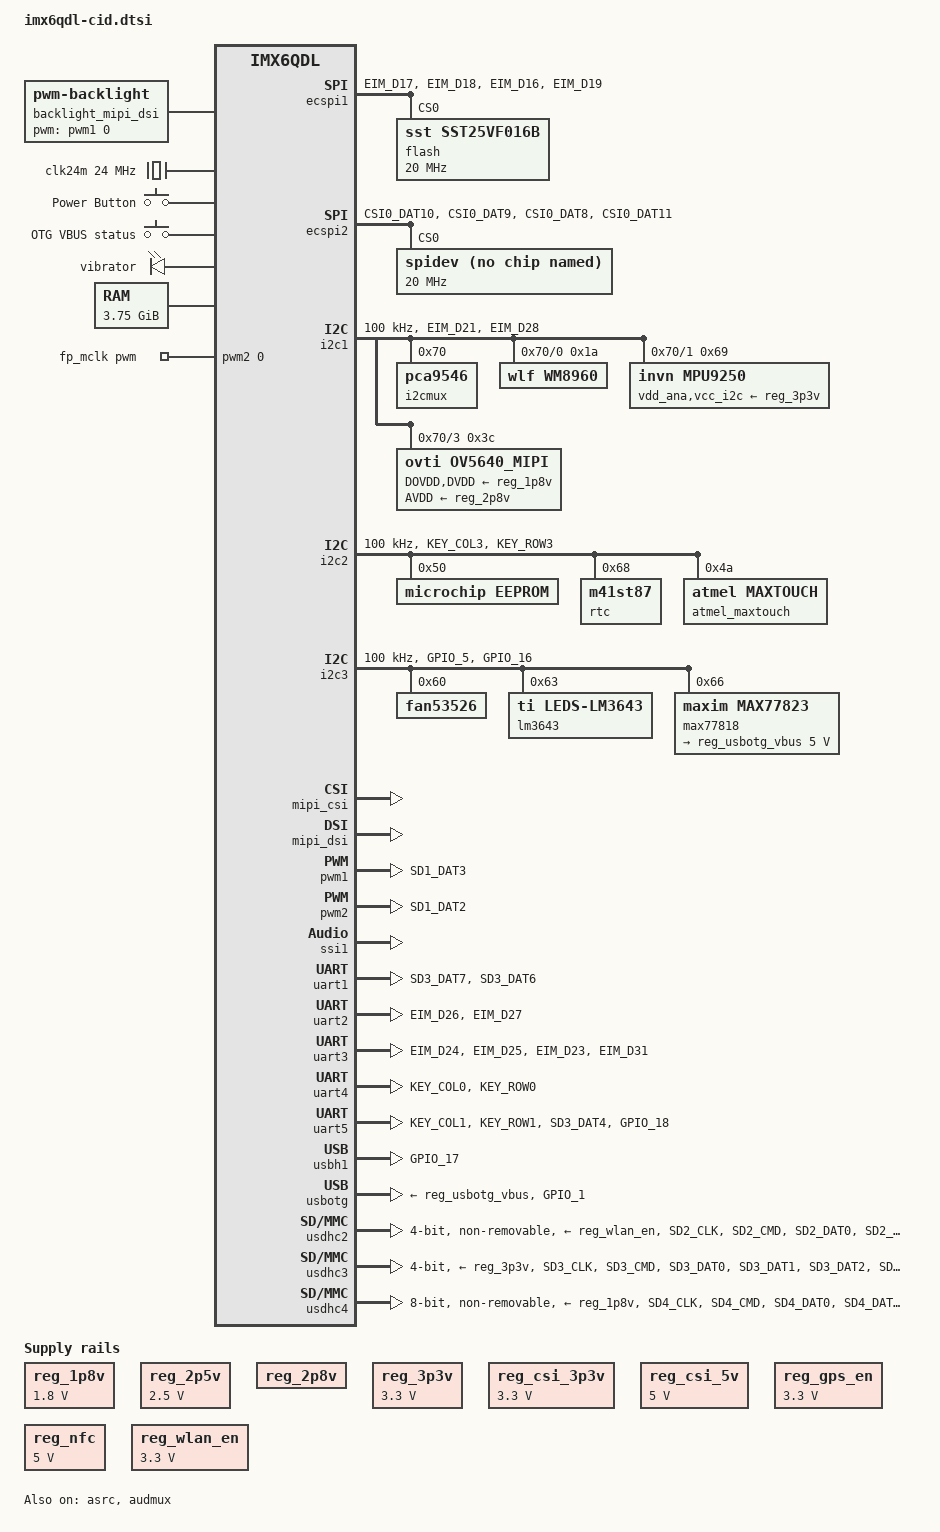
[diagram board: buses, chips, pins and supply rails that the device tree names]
/*
 * Copyright 2017 Boundary Devices, Inc.
 *
 * The code contained herein is licensed under the GNU General Public
 * License. You may obtain a copy of the GNU General Public License
 * Version 2 or later at the following locations:
 *
 * http://www.opensource.org/licenses/gpl-license.html
 * http://www.gnu.org/copyleft/gpl.html
 */
#include <dt-bindings/gpio/gpio.h>
#include <dt-bindings/input/input.h>

&iomuxc {
	pinctrl-names = "default";
	pinctrl-0 = <&pinctrl_hog>;

	iomuxc_imx6q_cid: iomuxc-imx6q-cidgrp {
		status = "okay";
	};
};

&iomuxc_imx6q_cid {
	pinctrl_audmux3: audmuxgrp {
		fsl,pins = <
			MX6QDL_PAD_CSI0_DAT4__AUD3_TXC		0x130b0
			MX6QDL_PAD_CSI0_DAT5__AUD3_TXD		0x110b0
			MX6QDL_PAD_CSI0_DAT6__AUD3_TXFS		0x130b0
			MX6QDL_PAD_CSI0_DAT7__AUD3_RXD		0x130b0
		>;
	};

	pinctrl_audmux4: audmuxgrp {
		fsl,pins = <
			MX6QDL_PAD_DISP0_DAT20__AUD4_TXC	0x130b0
			MX6QDL_PAD_DISP0_DAT21__AUD4_TXD	0x110b0
			MX6QDL_PAD_DISP0_DAT22__AUD4_TXFS	0x130b0
			MX6QDL_PAD_DISP0_DAT23__AUD4_RXD	0x130b0
		>;
	};

	pinctrl_backlight_mipi: backlight-mipigrp {
		fsl,pins = <
#define GP_BACKLIGHT_MIPI_EN	<&gpio1 2 GPIO_ACTIVE_HIGH>
			MX6QDL_PAD_GPIO_2__GPIO1_IO02		0x030b0
		>;
	};

	pinctrl_bt_rfkill: bt-rfkillgrp {
		fsl,pins = <
#define GP_BT_RFKILL_RESET	<&gpio6 16 GPIO_ACTIVE_LOW>
			MX6QDL_PAD_NANDF_CS3__GPIO6_IO16	0x030b0
		>;
	};

	pinctrl_ecspi1: ecspi1grp {
		fsl,pins = <
			MX6QDL_PAD_EIM_D17__ECSPI1_MISO		0x100b1
			MX6QDL_PAD_EIM_D18__ECSPI1_MOSI		0x100b1
			MX6QDL_PAD_EIM_D16__ECSPI1_SCLK		0x000b1
#define GP_ECSPI1_NOR_CS	<&gpio3 19 GPIO_ACTIVE_LOW>
			MX6QDL_PAD_EIM_D19__GPIO3_IO19		0x0b0b1
		>;
	};

	pinctrl_ecspi2: ecspi2grp {
		fsl,pins = <
			MX6QDL_PAD_CSI0_DAT10__ECSPI2_MISO	0x100b1
			MX6QDL_PAD_CSI0_DAT9__ECSPI2_MOSI	0x100b1
			MX6QDL_PAD_CSI0_DAT8__ECSPI2_SCLK	0x000b1
#define GP_ECSPI2_CS		<&gpio5 29 GPIO_ACTIVE_LOW>
			MX6QDL_PAD_CSI0_DAT11__GPIO5_IO29	0x0b0b1
		>;
	};

	pinctrl_gpio_keys: gpio-keysgrp {
		fsl,pins = <
#define GP_GPIOKEY_POWER	<&gpio3 1 GPIO_ACTIVE_LOW>
			MX6QDL_PAD_EIM_DA1__GPIO3_IO01		0x1b0b0
			/* Goes low when USB_OTG_VBUS goes high */
#define GP_GPIOKEY_OTG_VBUS_STATUS	<&gpio3 3 GPIO_ACTIVE_LOW>
			MX6QDL_PAD_EIM_DA3__GPIO3_IO03		0x1b0b0
		>;
	};

	pinctrl_hog: hoggrp {
		fsl,pins = <
			/* Blue Led */
#define GP_STAT_LED1		<&gpio4 26 GPIO_ACTIVE_LOW>
			MX6QDL_PAD_DISP0_DAT5__GPIO4_IO26	0x1b0b0
			/* Green Led */
#define GP_STAT_LED2		<&gpio4 25 GPIO_ACTIVE_LOW>
			MX6QDL_PAD_DISP0_DAT4__GPIO4_IO25	0x1b0b0
			/* Red Led */
#define GP_STAT_LED3		<&gpio4 27 GPIO_ACTIVE_LOW>
			MX6QDL_PAD_DISP0_DAT6__GPIO4_IO27	0x1b0b0

			/* Regulators */
#define GP_3P7_BYPASS_EN	<&gpio2 18 GPIO_ACTIVE_HIGH>
			MX6QDL_PAD_EIM_A20__GPIO2_IO18		0x1b0b0
#define GP_3P7_EN		<&gpio5 11 GPIO_ACTIVE_HIGH>
			MX6QDL_PAD_DISP0_DAT17__GPIO5_IO11	0x1b0b0
			/* TODO Wireless control pins */
			MX6QDL_PAD_NANDF_ALE__GPIO6_IO08	0x1b0b0
			MX6QDL_PAD_NANDF_CLE__GPIO6_IO07	0x1b0b0
			MX6QDL_PAD_NANDF_D3__GPIO2_IO03		0x1b0b0
			/* main power on/ use pmic_on_req instead */
			MX6QDL_PAD_GPIO_8__GPIO1_IO08		0x1b0b0
			/* TP68 */
			MX6QDL_PAD_NANDF_D0__GPIO2_IO00		0x1b0b0
			/* TP71 */
			MX6QDL_PAD_ENET_TXD0__GPIO1_IO30	0x1b0b0
			/* TP72 */
			MX6QDL_PAD_ENET_RXD0__GPIO1_IO27	0x1b0b0
			/* TP74 */
			MX6QDL_PAD_NANDF_D7__GPIO2_IO07		0x1b0b0
			/* TP84 */
			MX6QDL_PAD_KEY_ROW2__GPIO4_IO11		0x1b0b0
			/* TP85 */
			MX6QDL_PAD_GPIO_9__GPIO1_IO09		0x1b0b0
			/* TP86 */
			MX6QDL_PAD_DISP0_DAT10__GPIO4_IO31	0x1b0b0
			/* TP87 */
			MX6QDL_PAD_DISP0_DAT19__GPIO5_IO13	0x1b0b0
			/* TP91 */
			MX6QDL_PAD_SD1_DAT0__GPIO1_IO16		0x1b0b0
			/* TP92 */
			MX6QDL_PAD_SD1_DAT1__GPIO1_IO17		0x1b0b0
			/* TP93 */
			MX6QDL_PAD_EIM_A21__GPIO2_IO17		0x1b0b0
			/* TP94 */
			MX6QDL_PAD_EIM_A22__GPIO2_IO16		0x1b0b0
			/* TP95 */
			MX6QDL_PAD_EIM_DA0__GPIO3_IO00		0x1b0b0
			/* TP96 */
			MX6QDL_PAD_DISP0_DAT18__GPIO5_IO12	0x1b0b0
			/* TP97 */
			MX6QDL_PAD_EIM_DA5__GPIO3_IO05		0x1b0b0
			/* TP105 */
			MX6QDL_PAD_EIM_A24__GPIO5_IO04		0x1b0b0
			/* TP106 */
			MX6QDL_PAD_EIM_DA7__GPIO3_IO07		0x1b0b0
			/* TP110 */
			MX6QDL_PAD_KEY_COL4__GPIO4_IO14		0x1b0b0
			/* Let max77818 control this directly by turning on/off CHGIN */
			/*
			 * TP111 on rev 1,
			 * power enable on rev 0 that should not be used, so keep pull down
			 */
			MX6QDL_PAD_EIM_D22__GPIO3_IO22		0x130b0
			/* TP131 */
			MX6QDL_PAD_EIM_A25__GPIO5_IO02		0x1b0b0
		>;
	};

	pinctrl_i2c1: i2c1grp {
		fsl,pins = <
			MX6QDL_PAD_EIM_D21__I2C1_SCL		0x4001b8b1
			MX6QDL_PAD_EIM_D28__I2C1_SDA		0x4001b8b1
		>;
	};

	pinctrl_i2c1_pca9546: i2c1_pca9546grp {
		fsl,pins = <
			/* Select addr 0x70 for pca9546 */
			MX6QDL_PAD_EIM_DA15__GPIO3_IO15		0x030b0
			MX6QDL_PAD_EIM_DA14__GPIO3_IO14		0x030b0
#define GP_I2C1MUX_RESET	<&gpio3 13 GPIO_ACTIVE_LOW>
			MX6QDL_PAD_EIM_DA13__GPIO3_IO13		0x030b0
		>;
	};

	pinctrl_i2c1a_wm8960: i2c1-wm8960grp {
		fsl,pins = <
			MX6QDL_PAD_GPIO_0__CCM_CLKO1		0x000b0
#define GP_WM8960_MIC_DET		<&gpio7 8 GPIO_ACTIVE_LOW>
			MX6QDL_PAD_SD3_RST__GPIO7_IO08		0x1b0b0
#define GP_WM8960_HP_DET		<&gpio4 10 GPIO_ACTIVE_LOW>
			MX6QDL_PAD_KEY_COL2__GPIO4_IO10		0x1b0b0
		>;
	};

	pinctrl_i2c1b_mpu9250: i2c3_mpu9250grp {
		fsl,pins = <
#define GPIRQ_MPU9250_INT	<&gpio6 11 IRQ_TYPE_LEVEL_LOW>
			MX6QDL_PAD_NANDF_CS0__GPIO6_IO11	0x1b0b0
		>;
	};

	pinctrl_i2c1c_finger_sensor: i2c1-finger-sensorgrp {
		fsl,pins = <
			MX6QDL_PAD_CSI0_DAT12__IPU1_CSI0_DATA12		0x1b0b0
			MX6QDL_PAD_CSI0_DAT13__IPU1_CSI0_DATA13		0x1b0b0
			MX6QDL_PAD_CSI0_DAT14__IPU1_CSI0_DATA14		0x1b0b0
			MX6QDL_PAD_CSI0_DAT15__IPU1_CSI0_DATA15		0x1b0b0
			MX6QDL_PAD_CSI0_DAT16__IPU1_CSI0_DATA16		0x1b0b0
			MX6QDL_PAD_CSI0_DAT17__IPU1_CSI0_DATA17		0x1b0b0
			MX6QDL_PAD_CSI0_DAT18__IPU1_CSI0_DATA18		0x1b0b0
			MX6QDL_PAD_CSI0_DAT19__IPU1_CSI0_DATA19		0x1b0b0
			MX6QDL_PAD_CSI0_DATA_EN__IPU1_CSI0_DATA_EN	0x1b0b0
			MX6QDL_PAD_CSI0_PIXCLK__IPU1_CSI0_PIXCLK	0x1b0b0
			MX6QDL_PAD_CSI0_MCLK__IPU1_CSI0_HSYNC		0x1b0b0
			MX6QDL_PAD_CSI0_VSYNC__IPU1_CSI0_VSYNC		0x1b0b0
#define GP_FP_CSI0_RESET_N	<&gpio2 27 GPIO_ACTIVE_LOW>
			MX6QDL_PAD_EIM_LBA__GPIO2_IO27			0x0b0b0
#define GP_FP_SENSOR_STAT	<&gpio2 26 GPIO_ACTIVE_HIGH>
			MX6QDL_PAD_EIM_RW__GPIO2_IO26			0x0b0b0
#define GP_FP_LE_EN		<&gpio2 25 GPIO_ACTIVE_HIGH>
			MX6QDL_PAD_EIM_OE__GPIO2_IO25			0x0b0b0
		>;
	};

	pinctrl_i2c1d_ov5640_mipi: i2c1-ov5640-mipigrp {
		fsl,pins = <
			MX6QDL_PAD_GPIO_3__CCM_CLKO2		0x000b0
#define GP_OV5640_MIPI_POWER_DOWN	<&gpio6 10 GPIO_ACTIVE_HIGH>
			MX6QDL_PAD_NANDF_RB0__GPIO6_IO10	0x0b0b0
#define GP_OV5640_MIPI_RESET		<&gpio2 5 GPIO_ACTIVE_LOW>
			MX6QDL_PAD_NANDF_D5__GPIO2_IO05		0x030b0
		>;
	};

	pinctrl_i2c2: i2c2grp {
		fsl,pins = <
			MX6QDL_PAD_KEY_COL3__I2C2_SCL		0x4001b8b1
			MX6QDL_PAD_KEY_ROW3__I2C2_SDA		0x4001b8b1
		>;
	};

	pinctrl_i2c2_eeprom: i2c2-eepromgrp {
		fsl,pins = <
#define GPIRQ_EEPROM_INTR	<&gpio2 28 IRQ_TYPE_LEVEL_LOW>
			MX6QDL_PAD_EIM_EB0__GPIO2_IO28			0x1b0b0
#define GP_EEPROM_ADDRESS	<&gpio2 29 GPIO_ACTIVE_LOW>
			MX6QDL_PAD_EIM_EB1__GPIO2_IO29			0x030b0
		>;
	};

	pinctrl_i2c2_rtc: i2c2-rtcgrp {
		fsl,pins = <
#define GPIRQ_RTC	<&gpio1 4 IRQ_TYPE_LEVEL_LOW>
			MX6QDL_PAD_GPIO_4__GPIO1_IO04		0x1b0b0
#define GPIRQ_TAMPER	<&gpio4 18 IRQ_TYPE_LEVEL_LOW>
			MX6QDL_PAD_DI0_PIN2__GPIO4_IO18		0x1b0b0
		>;
	};

	pinctrl_i2c2_touch: i2c2-touchgrp {
		fsl,pins = <
#define GPIRQ_TOUCH	<&gpio4 15 IRQ_TYPE_EDGE_FALLING>
#define GP_TOUCH_IRQ	<&gpio4 15 GPIO_ACTIVE_LOW>
			MX6QDL_PAD_KEY_ROW4__GPIO4_IO15		0x1b0b0
#define GP_TOUCH_RESET	<&gpio1 7 GPIO_ACTIVE_LOW>
			MX6QDL_PAD_GPIO_7__GPIO1_IO07		0x130b0
		>;
	};

	pinctrl_i2c3: i2c3grp {
		fsl,pins = <
			MX6QDL_PAD_GPIO_5__I2C3_SCL		0x4001b8b1
			MX6QDL_PAD_GPIO_16__I2C3_SDA		0x4001b8b1
		>;
	};

	pinctrl_i2c3_lm3643: i2c3_lm3643grp {
		fsl,pins = <
#define GP_FLASH_STROBE		<&gpio6 6 GPIO_ACTIVE_HIGH>
			MX6QDL_PAD_EIM_A23__GPIO6_IO06		0x0b0b0
#define GP_FLASH_HW_EN		<&gpio5 6 GPIO_ACTIVE_HIGH>
			MX6QDL_PAD_DISP0_DAT12__GPIO5_IO06	0x0b0b0
#define GP_TORCH_EN		<&gpio5 5 GPIO_ACTIVE_HIGH>
			MX6QDL_PAD_DISP0_DAT11__GPIO5_IO05	0x0b0b0
#define GP_FLASH_TX		<&gpio4 30 GPIO_ACTIVE_HIGH>
			MX6QDL_PAD_DISP0_DAT9__GPIO4_IO30	0x0b0b0
		>;
	};

	pinctrl_i2c3_max77818: i2c3_max77818grp {
		fsl,pins = <
#define GPIRQ_MAX77818_WCHG_VALID_INT	<&gpio2 22 IRQ_TYPE_LEVEL_LOW>
			MX6QDL_PAD_EIM_A16__GPIO2_IO22		0x1b0b0
#define GPIRQ_MAX77818_WCHG_VALID	<&gpio2 21 IRQ_TYPE_LEVEL_LOW>
			MX6QDL_PAD_EIM_A17__GPIO2_IO21		0x1b0b0
#define GPIRQ_MAX77818_CHG_INT		<&gpio2 20 IRQ_TYPE_LEVEL_LOW>
			MX6QDL_PAD_EIM_A18__GPIO2_IO20		0x1b0b0
		>;
	};

	pinctrl_leds: ledsgrp {
		fsl,pins = <
#define GP_LED_VIBRATOR		<&gpio5 8 GPIO_ACTIVE_HIGH>
			MX6QDL_PAD_DISP0_DAT14__GPIO5_IO08	0x030b0
		>;
	};

	pinctrl_mipi_dsi_reset: mipi-dsi-resetgrp {
		fsl,pins = <
#define GP_MIPI_DSI_RESET	<&gpio2 2 GPIO_ACTIVE_LOW>
			MX6QDL_PAD_NANDF_D2__GPIO2_IO02		0x030b1
/* Tearing effect input from the display */
#define GP_MIPI_TE		<&gpio6 9 GPIO_ACTIVE_HIGH>
			MX6QDL_PAD_NANDF_WP_B__GPIO6_IO09	0x030b1
#define GP_MIPI_ID		<&gpio2 4 GPIO_ACTIVE_HIGH>
			MX6QDL_PAD_NANDF_D4__GPIO2_IO04		0x030b1
		>;
	};

	/* Backlight (MIPI display)*/
	pinctrl_pwm1: pwm1grp {
		fsl,pins = <
			MX6QDL_PAD_SD1_DAT3__PWM1_OUT		0x030b1
		>;
	};

	/* Fingerprint MCLK */
	pinctrl_pwm2: pwm2grp {
		fsl,pins = <
			MX6QDL_PAD_SD1_DAT2__PWM2_OUT		0x030b1
		>;
	};

	pinctrl_reg_gps_en: reg-gps-engrp {
		fsl,pins = <
#define GP_REG_GPS_EN	<&gpio4 5 GPIO_ACTIVE_HIGH>
			MX6QDL_PAD_GPIO_19__GPIO4_IO05		0x0b0b0
		>;
	};

	pinctrl_reg_nfc: reg-nfcgrp {
		fsl,pins = <
#define GP_NFC_PWR_EN	<&gpio4 21 GPIO_ACTIVE_HIGH>
			MX6QDL_PAD_DISP0_DAT0__GPIO4_IO21	0x030b0
		>;
	};

	pinctrl_reg_wlan_en: reg-wlan-engrp {
		fsl,pins = <
#define GP_REG_WLAN_EN	<&gpio6 15 GPIO_ACTIVE_HIGH>
			MX6QDL_PAD_NANDF_CS2__GPIO6_IO15	0x030b0
		>;
	};

	pinctrl_reg_2p8v: reg-2p8vgrp {
		fsl,pins = <
#define GP_REG_2P8V_EN	<&gpio3 9 GPIO_ACTIVE_HIGH>
			MX6QDL_PAD_EIM_DA9__GPIO3_IO09		0x030b0
		>;
	};

	pinctrl_reg_csi_3p3v: reg-csi-3p3grp {
		fsl,pins = <
#define GP_REG_CSI_3P3V_EN	<&gpio2 23 GPIO_ACTIVE_HIGH>
			MX6QDL_PAD_EIM_CS0__GPIO2_IO23		0x030b0
		>;
	};

	pinctrl_reg_csi_5v: reg-csi-5vgrp {
		fsl,pins = <
#define GP_REG_CSI_5V_EN	<&gpio2 24 GPIO_ACTIVE_HIGH>
			MX6QDL_PAD_EIM_CS1__GPIO2_IO24		0x030b0
		>;
	};

	pinctrl_uart1: uart1grp {
		fsl,pins = <
			MX6QDL_PAD_SD3_DAT7__UART1_TX_DATA	0x1b0b1
			MX6QDL_PAD_SD3_DAT6__UART1_RX_DATA	0x1b0b1
		>;
	};

	pinctrl_uart2: uart2grp {
		fsl,pins = <
			MX6QDL_PAD_EIM_D26__UART2_TX_DATA	0x1b0b1
			MX6QDL_PAD_EIM_D27__UART2_RX_DATA	0x1b0b1
		>;
	};

	pinctrl_uart3: uart3grp {
		fsl,pins = <
			MX6QDL_PAD_EIM_D24__UART3_TX_DATA	0x1b0b1
			MX6QDL_PAD_EIM_D25__UART3_RX_DATA	0x1b0b1
			MX6QDL_PAD_EIM_D23__UART3_CTS_B		0x1b0b1
			MX6QDL_PAD_EIM_D31__UART3_RTS_B		0x1b0b1
		>;
	};

	pinctrl_uart4: uart4grp {
		fsl,pins = <
			MX6QDL_PAD_KEY_COL0__UART4_TX_DATA	0x1b0b1
			MX6QDL_PAD_KEY_ROW0__UART4_RX_DATA	0x1b0b1
		>;
	};

	pinctrl_uart5: uart5grp {
		fsl,pins = <
			MX6QDL_PAD_KEY_COL1__UART5_TX_DATA	0x1b0b1
			MX6QDL_PAD_KEY_ROW1__UART5_RX_DATA	0x1b0b1
			/* GPS - MAX-7W */
#define GP_GPS_HEARTBEAT	<&gpio7 1 GPIO_ACTIVE_HIGH>
			MX6QDL_PAD_SD3_DAT4__GPIO7_IO01		0x1b0b0
#define GP_GPS_INT		<&gpio7 13 GPIO_ACTIVE_LOW>
			MX6QDL_PAD_GPIO_18__GPIO7_IO13		0x0b0b0
		>;
	};

	pinctrl_usbh1: usbh1grp {
		fsl,pins = <
#define GP_USBH1_HUB_RESET	<&gpio7 12 GPIO_ACTIVE_LOW>
			MX6QDL_PAD_GPIO_17__GPIO7_IO12		0x030b0
		>;
	};

	pinctrl_usbotg: usbotggrp {
		fsl,pins = <
			MX6QDL_PAD_GPIO_1__USB_OTG_ID		0x17059
		>;
	};

	pinctrl_usdhc2: usdhc2grp {
		fsl,pins = <
			MX6QDL_PAD_SD2_CLK__SD2_CLK		0x10071
			MX6QDL_PAD_SD2_CMD__SD2_CMD		0x17071
			MX6QDL_PAD_SD2_DAT0__SD2_DATA0		0x17071
			MX6QDL_PAD_SD2_DAT1__SD2_DATA1		0x17071
			MX6QDL_PAD_SD2_DAT2__SD2_DATA2		0x17071
			MX6QDL_PAD_SD2_DAT3__SD2_DATA3		0x17071
			MX6QDL_PAD_SD1_CLK__OSC32K_32K_OUT	0x000b0		/* slow clock */
		>;
	};

	pinctrl_usdhc2_100mhz: usdhc2grp-100mhz {
		fsl,pins = <
			MX6QDL_PAD_SD2_CMD__SD2_CMD		0x170B9
			MX6QDL_PAD_SD2_CLK__SD2_CLK		0x100B9
			MX6QDL_PAD_SD2_DAT0__SD2_DATA0		0x170B9
			MX6QDL_PAD_SD2_DAT1__SD2_DATA1 		0x170B9
			MX6QDL_PAD_SD2_DAT2__SD2_DATA2 		0x170B9
			MX6QDL_PAD_SD2_DAT3__SD2_DATA3 		0x170B9
		>;
	};

	pinctrl_usdhc2_200mhz: usdhc2grp-200mhz {
		fsl,pins = <
			MX6QDL_PAD_SD2_CMD__SD2_CMD		0x170F9
			MX6QDL_PAD_SD2_CLK__SD2_CLK 		0x100F9
			MX6QDL_PAD_SD2_DAT0__SD2_DATA0		0x170F9
			MX6QDL_PAD_SD2_DAT1__SD2_DATA1 		0x170F9
			MX6QDL_PAD_SD2_DAT2__SD2_DATA2 		0x170F9
			MX6QDL_PAD_SD2_DAT3__SD2_DATA3 		0x170F9
		>;
	};

	pinctrl_usdhc3: usdhc3grp {
		fsl,pins = <
			MX6QDL_PAD_SD3_CLK__SD3_CLK		0x10059
			MX6QDL_PAD_SD3_CMD__SD3_CMD		0x17059
			MX6QDL_PAD_SD3_DAT0__SD3_DATA0		0x17059
			MX6QDL_PAD_SD3_DAT1__SD3_DATA1		0x17059
			MX6QDL_PAD_SD3_DAT2__SD3_DATA2		0x17059
			MX6QDL_PAD_SD3_DAT3__SD3_DATA3		0x17059
#define GP_USDHC3_CD	<&gpio7 0 GPIO_ACTIVE_LOW>
			MX6QDL_PAD_SD3_DAT5__GPIO7_IO00		0x1b0b0
		>;
	};

	pinctrl_usdhc4: usdhc4grp {
		fsl,pins = <
			MX6QDL_PAD_SD4_CLK__SD4_CLK		0x10059
			MX6QDL_PAD_SD4_CMD__SD4_CMD		0x17059
			MX6QDL_PAD_SD4_DAT0__SD4_DATA0		0x17059
			MX6QDL_PAD_SD4_DAT1__SD4_DATA1		0x17059
			MX6QDL_PAD_SD4_DAT2__SD4_DATA2		0x17059
			MX6QDL_PAD_SD4_DAT3__SD4_DATA3		0x17059
			MX6QDL_PAD_SD4_DAT4__SD4_DATA4		0x17059
			MX6QDL_PAD_SD4_DAT5__SD4_DATA5		0x17059
			MX6QDL_PAD_SD4_DAT6__SD4_DATA6		0x17059
			MX6QDL_PAD_SD4_DAT7__SD4_DATA7		0x17059
		>;
	};

	pinctrl_wlan: wlangrp {
		fsl,pins = <
#define GPIRQ_WLAN	<&gpio6 14 IRQ_TYPE_LEVEL_HIGH>
			MX6QDL_PAD_NANDF_CS1__GPIO6_IO14	0x100b0
		>;
	};

	pinctrl_wwan_rfkill: wwan_rfkillgrp {
		fsl,pins = <
			/* HL7588 - Modem pins */
#define GP_MODEM_RESET		<&gpio4 23 GPIO_ACTIVE_LOW>
			MX6QDL_PAD_DISP0_DAT2__GPIO4_IO23	0x030b0
/*
 * This signal can only turn the modem on,
 * pull low for 2 seconds, then release,
 * when signal goes low again, the device is ready.
 * Use AT*PSCPOF to power off.
 */
#define GP_MODEM_PULSE_ON	<&gpio4 29 GPIO_ACTIVE_LOW>
			MX6QDL_PAD_DISP0_DAT8__GPIO4_IO29	0x4001b8b0	/* Open drain, bidirectional signal */
#define GP_SLEEP_STAT		<&gpio4 22 GPIO_ACTIVE_HIGH>
			MX6QDL_PAD_DISP0_DAT1__GPIO4_IO22	0x1b0b0
			/* SIM */
#define GP_SIM_DETECT		<&gpio2 19 GPIO_ACTIVE_HIGH>
			MX6QDL_PAD_EIM_A19__GPIO2_IO19		0x1b0b0
		>;
	};
};

/ {
	aliases {
		backlight_mipi_dsi = &backlight_mipi_dsi;
		fb_mipi_dsi = &fb_mipi_dsi;
		mmc0 = &usdhc3;
		mmc1 = &usdhc4;
		mmc2 = &usdhc2;
		mxcfb0 = &fb_mipi_dsi;
		pwm_mipi_dsi = &pwm1;
	};

	backlight_mipi_dsi: backlight_mipi_dsi {
		brightness-levels = <0 1 2 3 4 5 6 7 8 9 10>;
		compatible = "pwm-backlight";
		default-brightness-level = <8>;
		display = <&fb_mipi_dsi>;
		enable-gpios = GP_BACKLIGHT_MIPI_EN;
		pinctrl-names = "default";
		pinctrl-0 = <&pinctrl_backlight_mipi>;
		pwms = <&pwm1 0 5000000>;
	};

	bt_rfkill: bt_rfkill {
		compatible = "net,rfkill-gpio";
		pinctrl-names = "default";
		pinctrl-0 = <&pinctrl_bt_rfkill>;
		name = "bt_rfkill";
		type = <2>;     /* bluetooth */
		reset-gpios = GP_BT_RFKILL_RESET;
		status = "okay";
	};

	clocks {
		clk24m: clk24m {
			compatible = "fixed-clock";
			#clock-cells = <0>;
			clock-frequency = <24000000>;
		};
	};

	fb_mipi_dsi: fb@0 {
		compatible = "fsl,mxc_sdc_fb";
		disp_dev = "mipi_dsi";
		interface_pix_fmt = "RGB24";
		mode_str ="OSD050T2844";
		default_bpp = <32>;
		int_clk = <0>;
		late_init = <0>;
		status = "okay";
	};

	gpio-keys {
		compatible = "gpio-keys";
		pinctrl-names = "default";
		pinctrl-0 = <&pinctrl_gpio_keys>;

		power {
			label = "Power Button";
			gpios = GP_GPIOKEY_POWER;
			linux,code = <KEY_POWER>;
			gpio-key,wakeup;
		};

		otg_vbus_status {
			label = "OTG VBUS status";
			gpios = GP_GPIOKEY_OTG_VBUS_STATUS;
			linux,code = <KEY_F1>;
			gpio-key,wakeup;
		};
	};

	leds: leds {
		compatible = "gpio-leds";
		pinctrl-names = "default";
		pinctrl-0 = <&pinctrl_leds>;

		vibrator {
			gpios = GP_LED_VIBRATOR;
			default-state = "off";
			linux,default-trigger = "transient";
		};
	};

	memory {
		reg = <0x10000000 0xeffffc00>;
	};

	mipi_dsi_reset: mipi-dsi-reset {
		compatible = "gpio-reset";
		pinctrl-names = "default";
		pinctrl-0 = <&pinctrl_mipi_dsi_reset>;
		reset-gpios = GP_MIPI_DSI_RESET;
		reset-delay-us = <50>;
		#reset-cells = <0>;
	};

	fp_mclk: fp_mclk {
		compatible = "pwm-clock";
		#clock-cells = <0>;
		clock-frequency = <22000000>;
		clock-output-names = "fp_mclk";
		pwms = <&pwm2 0 45>; /* 1 / 45 ns = 22 MHz */
	};

	regulators {
		compatible = "simple-bus";
		#address-cells = <1>;
		#size-cells = <0>;

		reg_1p8v: regulator@0 {
			compatible = "regulator-fixed";
			reg = <0>;
			regulator-name = "1P8V";
			regulator-min-microvolt = <1800000>;
			regulator-max-microvolt = <1800000>;
			regulator-always-on;
		};

		reg_2p5v: regulator@1 {
			compatible = "regulator-fixed";
			reg = <1>;
			regulator-name = "2P5V";
			regulator-min-microvolt = <2500000>;
			regulator-max-microvolt = <2500000>;
			regulator-always-on;
		};

		reg_2p8v: regulator@2 {
			compatible = "regulator-fixed";
			enable-active-high;
			gpio = GP_REG_2P8V_EN;
			pinctrl-names = "default";
			pinctrl-0 = <&pinctrl_reg_2p8v>;
			reg = <2>;
			regulator-name = "2P8V";
			startup-delay-us = <2000>;
		};

		reg_3p3v: regulator@3 {
			compatible = "regulator-fixed";
			reg = <3>;
			regulator-name = "3P3V";
			regulator-min-microvolt = <3300000>;
			regulator-max-microvolt = <3300000>;
			regulator-always-on;
		};

		reg_csi_3p3v: regulator@4 {
			compatible = "regulator-fixed";
			enable-active-high;
			gpio = GP_REG_CSI_3P3V_EN;
			pinctrl-names = "default";
			pinctrl-0 = <&pinctrl_reg_csi_3p3v>;
			reg = <4>;
			regulator-name = "csi_3p3vbus";
			regulator-min-microvolt = <3300000>;
			regulator-max-microvolt = <3300000>;
		};

		reg_csi_5v: regulator@5 {
			compatible = "regulator-fixed";
			enable-active-high;
			gpio = GP_REG_CSI_5V_EN;
			pinctrl-names = "default";
			pinctrl-0 = <&pinctrl_reg_csi_5v>;
			reg = <5>;
			regulator-name = "csi_5vbus";
			regulator-min-microvolt = <5000000>;
			regulator-max-microvolt = <5000000>;
		};

		reg_gps_en: regulator@6 {
			compatible = "regulator-fixed";
			enable-active-high;
			gpio = GP_REG_GPS_EN;
			reg = <6>;
			pinctrl-names = "default";
			pinctrl-0 = <&pinctrl_reg_gps_en>;
			regulator-name = "gps-en";
			regulator-min-microvolt = <3300000>;
			regulator-max-microvolt = <3300000>;
			regulator-always-on;
		};

		reg_nfc: regulator@7 {
			compatible = "regulator-fixed";
			enable-active-high;
			gpio = GP_NFC_PWR_EN;
			pinctrl-names = "default";
			pinctrl-0 = <&pinctrl_reg_nfc>;
			reg = <7>;
			regulator-name = "nfc";
			regulator-min-microvolt = <5000000>;
			regulator-max-microvolt = <5000000>;
		};

		reg_wlan_en: regulator@8 {
			compatible = "regulator-fixed";
			enable-active-high;
			gpio = GP_REG_WLAN_EN;
			reg = <8>;
			pinctrl-names = "default";
			pinctrl-0 = <&pinctrl_reg_wlan_en>;
			regulator-name = "wlan-en";
			regulator-min-microvolt = <3300000>;
			regulator-max-microvolt = <3300000>;
			startup-delay-us = <70000>;
		};
	};

	sound {
		compatible = "fsl,imx6q-cid-wm8960",
			     "fsl,imx-audio-wm8960";
		model = "wm8960-audio";
		cpu-dai = <&ssi1>;
		audio-codec = <&wm8960>;
#ifdef USE_ASRC
		asrc-controller = <&asrc>;
#endif
		codec-master;
		/* JD2: hp detect high for headphone*/
		hp-det = <2 0>;
		audio-routing =
			"Headphone Jack", "HP_L",
			"Headphone Jack", "HP_R",
			"Ext Spk", "SPK_RP",
			"Ext Spk", "SPK_RN",
			"LINPUT1", "Main MIC",
			"Main MIC", "MICB"
#ifdef USE_ASRC
			,"CPU-Playback", "ASRC-Playback",
			"Playback", "CPU-Playback",
			"ASRC-Capture", "CPU-Capture",
			"CPU-Capture", "Capture"
#endif
			;
		mux-int-port = <1>;
		mux-ext-port = <3>;
	};

	v4l2_cap_0 {
		compatible = "fsl,imx6q-v4l2-capture";
		ipu_id = <0>;
		csi_id = <0>;
		mipi_camera = <1>;
		mclk_source = <0>;
		status = "okay";
	};

	v4l2_out {
		compatible = "fsl,mxc_v4l2_output";
		status = "okay";
	};

	wwan_rfkill: wwan_rfkill {
		compatible = "net,rfkill-gpio";
		pinctrl-names = "default";
		pinctrl-0 = <&pinctrl_wwan_rfkill>;
		name = "wwan_rfkill";
		type = <5>;     /* WWAN */
		reset-gpios = GP_MODEM_RESET;
		pulse-on-gpios = GP_MODEM_PULSE_ON;
		pulse-duration = <2000>;
		status = "okay";
	};
};

#ifdef USE_ASRC
&asrc {
	status = "okay";
};
#endif

&audmux {
	pinctrl-names = "default";
	pinctrl-0 = <&pinctrl_audmux3>, <&pinctrl_audmux4>;
	status = "okay";
};

&ecspi1 {
	pinctrl-names = "default";
	pinctrl-0 = <&pinctrl_ecspi1>;
	fsl,spi-num-chipselects = <1>;
	cs-gpios = GP_ECSPI1_NOR_CS;
	status = "okay";

	flash: m25p80@0 {
		compatible = "sst,sst25vf016b";
		spi-max-frequency = <20000000>;
		reg = <0>;
		#address-cells = <1>;
		#size-cells = <1>;
		mtd@00000000 {
			label = "U-Boot";
			reg = <0x0 0xC0000>;
		};

		mtd@000C0000 {
			label = "env";
			reg = <0xC0000 0x2000>;
		};
		mtd@000C2000 {
			label = "splash";
			reg = <0xC2000 0x13e000>;
		};
	};
};

&ecspi2 {
	pinctrl-names = "default";
	pinctrl-0 = <&pinctrl_ecspi2>;
	fsl,spi-num-chipselects = <1>;
	cs-gpios = GP_ECSPI2_CS;
	status = "okay";

	spidev@0 {
		compatible = "spidev";
		spi-max-frequency = <20000000>;
		reg = <0>;
	};
};

&i2c1 {
	clock-frequency = <100000>;
	pinctrl-names = "default";
	pinctrl-0 = <&pinctrl_i2c1>;
	status = "okay";

	i2cmux@70 {
		compatible = "pca9546";
		pinctrl-names = "default";
		pinctrl-0 = <&pinctrl_i2c1_pca9546>;
		reg = <0x70>;
		reset-gpios = GP_I2C1MUX_RESET;
		#address-cells = <1>;
		#size-cells = <0>;

		i2c1a: i2c1@0 {
			reg = <0>;
			#address-cells = <1>;
			#size-cells = <0>;
		};

		i2c1b: i2c1@1 {
			reg = <1>;
			#address-cells = <1>;
			#size-cells = <0>;
		};

		i2c1c: i2c1@2 {
			reg = <2>;
			#address-cells = <1>;
			#size-cells = <0>;
		};

		i2c1d: i2c1@3 {
			reg = <3>;
			#address-cells = <1>;
			#size-cells = <0>;
		};
	};

};

&i2c1a {
	wm8960: wm8960@1a {
		compatible = "wlf,wm8960";
		pinctrl-names = "default";
		pinctrl-0 = <&pinctrl_i2c1a_wm8960>;
		reg = <0x1a>;
		clock-names = "mclk";
		wlf,shared-lrclk;
		clocks = <&clks IMX6QDL_CLK_CKO>;
		assigned-clocks =        <&clks IMX6QDL_CLK_CKO>;
		assigned-clock-parents = <&clks IMX6QDL_CLK_CKO2>;
	};
};

&i2c1b {
	mpu9250@69 {
		compatible = "invn,mpu9250";
		reg = <0x69>;
		pinctrl-names = "default";
		pinctrl-0 = <&pinctrl_i2c1b_mpu9250>;
		inven,vdd_ana-supply = <&reg_3p3v>;
		inven,vcc_i2c-supply = <&reg_3p3v>;
		axis_map_x = <1>;
		negate_x = <1>;
		axis_map_y = <0>;
		negate_y = <0>;
		axis_map_z = <2>;
		negate_z = <0>;
		inven,aux_type = "none";
		inven,secondary_type = "compass";
		inven,secondary_name = "ak8963";
		inven,secondary_reg = <0x0c>;
		inven,secondary_axis_map_x = <1>;
		inven,secondary_negate_x = <0>;
		inven,secondary_axis_map_y = <0>;
		inven,secondary_negate_y = <0>;
		inven,secondary_axis_map_z = <2>;
		inven,secondary_negate_z = <1>;
		interrupts-extended = GPIRQ_MPU9250_INT;
	};
};

&i2c1c {
#if 0
	finger-sensor@33 {
		/* TODO */
		compatible = "dummy_i2c_device";
		pinctrl-names = "default";
		pinctrl-0 = <&pinctrl_i2c1c_finger_sensor>;
		/* not really 0x33, chose this to let i2cdetect probe the real address */
		reg = <0x33>;
		clocks = <&fp_mclk>;
		clock-names = "fp_mclk";
		c1-supply = <&reg_csi_3p3v>;
		c2-supply = <&reg_csi_5v>;
		reset-gpios = GP_FP_CSI0_RESET_N;
		enable-gpios = GP_FP_LE_EN;
	};
#endif
};

&i2c1d {
	ov5640_mipi: ov5640-mipi@3c {
		assigned-clocks = <&clks IMX6QDL_CLK_CKO2_SEL>;
		assigned-clock-parents = <&clks IMX6QDL_CLK_OSC>;
		compatible = "ovti,ov5640_mipi";
		reg = <0x3c>;
		pinctrl-names = "default";
		pinctrl-0 = <&pinctrl_i2c1d_ov5640_mipi>;
		clocks = <&clks IMX6QDL_CLK_CKO2>;
		clock-names = "csi_mclk";
		DOVDD-supply = <&reg_1p8v>;
		AVDD-supply = <&reg_2p8v>;
		DVDD-supply = <&reg_1p8v>;
		pwn-gpios = GP_OV5640_MIPI_POWER_DOWN;
		rst-gpios = GP_OV5640_MIPI_RESET;
		ipu_id = <0>;
		csi_id = <0>;
		mclk = <24000000>;
		mclk_source = <0>;
	};
};

&i2c2 {
	clock-frequency = <100000>;
	pinctrl-names = "default";
	pinctrl-0 = <&pinctrl_i2c2>;
	status = "okay";

	eeprom@50 {
		compatible = "microchip,eeprom";
		reg = <0x50>;
		pinctrl-names = "default";
		pinctrl-0 = <&pinctrl_i2c2_eeprom>;
		interrupts-extended = GPIRQ_EEPROM_INTR;
	};

	rtc@68 {
		/* TODO */
		compatible = "m41st87";
		pinctrl-names = "default";
		pinctrl-0 = <&pinctrl_i2c2_rtc>;
		reg = <0x68>;
		interrupts-extended = GPIRQ_RTC;
	};

	atmel_maxtouch@4a {
		compatible = "atmel,maxtouch";
		interrupts-extended = GPIRQ_TOUCH;
		pinctrl-names = "default";
		pinctrl-0 = <&pinctrl_i2c2_touch>;
		reg = <0x4a>;
		reset-gpios = GP_TOUCH_RESET;
		wakeup-gpios = GP_TOUCH_IRQ;
	};
};

&i2c3 {
	clock-frequency = <100000>;
	pinctrl-names = "default";
	pinctrl-0 = <&pinctrl_i2c3>;
	status = "okay";

	fan53526@60 {
		/* TODO */
		compatible = "fan53526";
		reg = <0x60>;
	};

	lm3643@63 {
		compatible = "ti,leds-lm3643";
		pinctrl-names = "default";
		pinctrl-0 = <&pinctrl_i2c3_lm3643>;
		reg = <0x63>;
		flash-gpios = GP_FLASH_TX;
		hwen-gpios = GP_FLASH_HW_EN;
		strobe-gpios = GP_FLASH_STROBE;
		torch-gpios = GP_TORCH_EN;
	};

	max77818@66 {
		compatible = "maxim,max77823";
		pinctrl-names = "default";
		pinctrl-0 = <&pinctrl_i2c3_max77818>;
		reg = <0x66>;
		interrupts-extended = GPIRQ_MAX77818_CHG_INT;
		max77823,irq-gpio = GPIRQ_MAX77818_CHG_INT;
		max77823,wakeup = <1>;

		max77823_battery: battery {
			compatible = "samsung,sec-battery";
		};

		max77823_charger: charger {
			compatible = "samsung,max77823-charger";
		};

		max77823_fuelgauge: fuelgauge {
			compatible = "samsung,max77823-fuelgauge";
		};
	};
};

&max77823_battery {
	status = "okay";
	battery,vendor = "SDI SDI";
	battery,charger_name = "max77823-charger";
	battery,fuelgauge_name = "max77823-fuelgauge";
	battery,technology = <2>; /* POWER_SUPPLY_TECHNOLOGY_LION */
	battery,bat_irq_attr = <0x3>;

	battery,chip_vendor = "QCOM";
	battery,temp_adc_type = <1>; /* SEC_BATTERY_ADC_TYPE_AP */

	battery,polling_time = <10 30 30 30 3600>;

	battery,adc_check_count = <6>;

	/* SEC_BATTERY_CABLE_CHECK_PSY | SEC_BATTERY_CABLE_CHECK_NOINCOMPATIBLECHARGE */
	battery,cable_check_type = <6>;
	battery,cable_source_type = <1>; /* SEC_BATTERY_CABLE_SOURCE_EXTERNAL */
	battery,event_check;
	battery,event_waiting_time = <600>;
	battery,polling_type = <1>; /* SEC_BATTERY_MONITOR_ALARM */
	battery,monitor_initial_count = <3>;

	battery,battery_check_type = <6>; /* SEC_BATTERY_CHECK_INT */
	battery,check_count = <0>;
	battery,check_adc_max = <1440>;
	battery,check_adc_min = <0>;

	battery,ovp_uvlo_check_type = <3>; /* SEC_BATTERY_OVP_UVLO_CHGPOLLING */

	battery,thermal_source = <0>; /* SEC_BATTERY_THERMAL_SOURCE_FG */

	battery,temp_check_type = <0>; /* SEC_BATTERY_TEMP_CHECK_NONE */
	battery,temp_check_count = <1>;
	battery,full_check_type = <7>; /* SEC_BATTERY_FULLCHARGED_CHGPSY */
	battery,full_check_type_2nd = <3>; /* SEC_BATTERY_FULLCHARGED_TIME */
	battery,full_check_count = <1>;
	battery,chg_gpio_full_check = <0>;
	battery,chg_polarity_full_check = <1>;

	/* SEC_BATTERY_FULL_CONDITION_SOC |
	   SEC_BATTERY_FULL_CONDITION_NOTIMEFULL |
	   SEC_BATTERY_FULL_CONDITION_VCELL */
	battery,full_condition_type = <13>;
	battery,full_condition_soc = <97>;
	battery,full_condition_vcell = <4350000>;

	battery,recharge_check_count = <1>;
	battery,recharge_condition_type = <4>; /* SEC_BATTERY_RECHARGE_CONDITION_VCELL */
	battery,recharge_condition_soc = <98>;
	battery,recharge_condition_vcell = <4350000>;

	battery,charging_total_time = <21600>;
	battery,recharging_total_time = <5400>;
	battery,charging_reset_time = <0>;
};

&max77823_charger {
	battery,charger_name = "max77823-charger";
	boost = <1>;
	battery,chg_gpio_en = <0>;
	battery,chg_polarity_en = <0>;
	battery,chg_gpio_status = <0>;
	battery,chg_polarity_status = <0>;
	battery,chg_float_voltage = <4400>;
	battery,ovp_uvlo_check_type = <3>; /* SEC_BATTERY_OVP_UVLO_CHGPOLLING */
	battery,full_check_type = <7>; /* SEC_BATTERY_FULLCHARGED_CHGPSY */

	battery,input_current_limit    = <1800 460  460 4000  460  900 1000  460 460 1000  760 1800 1800 460 1300  300  700 1300 1800  300   80 1800 460 1000 1633 1000 1000 4000>;
	battery,fast_charging_current  = <2100   0  460 2100  460 1200 1000  460   0 1200  900 2100 2100   0 1300  300  700 1300 1800  300   80 2100   0 1000 2800 1000 1000 1000>;
	battery,full_check_current_1st = <200    0  200  200  200  200  200  200   0  200  200  200  200   0  200  200  200  200  200  200  200  200   0  200  200  200  200  200>;
	battery,full_check_current_2nd = <2400   0 2400 2400 2400 2400 2400 2400   0 2400 2400 2400 2400   0 2400 2400 2400 2400 2400 2400 2400 2400   0 2400 2400 2400 2400 2400>;

	regulators {
		reg_usbotg_vbus: otg {
			regulator-min-microvolt = <5000000>;
			regulator-max-microvolt = <5000000>;
		};
	};
};

&max77823_fuelgauge {
	compatible = "samsung,max77823-fuelgauge";
	fuelgauge,capacity_max = <990>;
	fuelgauge,capacity_max_margin = <50>;
	fuelgauge,capacity_min = <0>;
	fuelgauge,capacity_calculation_type = <0x17>;
	fuelgauge,fuel_alert_soc = <1>;
	empty_detect_voltage = <2900>;
	empty_recovery_voltage = <3100>;
	/* fuelgauge,repeated_fuelalert; */
	temp-disabled;
	temp-calibration = <0 (-6763) 9858>;
	/* if temp-calibration defined, temp-calibration-data not used */
	temp-calibration-data = <250 0x7cde
				 255 0x7c50
				 260 0x7aa0
				 265 0x792e
				 270 0x788e
				 275 0x7714
				 280 0x761a
				 285 0x7536
				 290 0x73ca
				 295 0x7326
				 300 0x726c
				 305 0x71cc
				 310 0x71b2
				 315 0x70a4
				 320 0x6f6a
				 325 0x6eae
				 330 0x6a2e
				 335 0x6800
				 340 0x673c
				 345 0x665a
				 350 0x65b4
				 355 0x6478
				 360 0x6318
				 365 0x6270
				 370 0x614e
				 375 0x5f56
				 380 0x5ed2
				 385 0x5d9e
				 390 0x5b38
				 395 0x5ae0
				 400 0x59ce
				 405 0x57b2
				 410 0x55f2
				 415 0x53c2
				 420 0x505a>;
};

&mipi_csi {
	lanes = <2>;
	status = "okay";
};

&mipi_dsi {
	dev_id = <0>;
	disp_id = <0>;
	lcd_panel = "OSD050T2844";
	disp-power-on-supply = <&reg_2p8v>;
	resets = <&mipi_dsi_reset>;
	status = "okay";
};

&pwm1 {
	pinctrl-names = "default";
	pinctrl-0 = <&pinctrl_pwm1>;
	status = "okay";
};

&pwm2 {
	pinctrl-names = "default";
	pinctrl-0 = <&pinctrl_pwm2>;
	status = "okay";
};

&snvs_poweroff {
	status = "okay";
};

&ssi1 {
	fsl,mode = "i2s-slave";
	status = "okay";
};

&uart1 {
	pinctrl-names = "default";
	pinctrl-0 = <&pinctrl_uart1>;
	status = "okay";
};

&uart2 {
	pinctrl-names = "default";
	pinctrl-0 = <&pinctrl_uart2>;
	status = "okay";
};

&uart3 {
	pinctrl-names = "default";
	pinctrl-0 = <&pinctrl_uart3>;
	fsl,uart-has-rtscts;
	status = "okay";
};

&uart4 {
	/* USB Modem */
	pinctrl-names = "default";
	pinctrl-0 = <&pinctrl_uart4>;
	status = "okay";
};

&uart5 {
	/* GPS - max-7w */
	pinctrl-names = "default";
	pinctrl-0 = <&pinctrl_uart5>;
	status = "okay";
};

&usbh1 {
	pinctrl-names = "default";
	pinctrl-0 = <&pinctrl_usbh1>;
	disable-over-current;
	reset-gpios = GP_USBH1_HUB_RESET;
	status = "okay";
};

&usbotg {
	pinctrl-names = "default";
	pinctrl-0 = <&pinctrl_usbotg>;
	disable-over-current;
	vbus-supply = <&reg_usbotg_vbus>;
	status = "okay";
};

&usdhc2 {
	pinctrl-names = "default", "state_100mhz", "state_200mhz";
	pinctrl-0 = <&pinctrl_usdhc2>;
	pinctrl-1 = <&pinctrl_usdhc2_100mhz>;
	pinctrl-2 = <&pinctrl_usdhc2_200mhz>;
	bus-width = <4>;
	non-removable;
	vmmc-supply = <&reg_wlan_en>;
	vqmmc-1-8-v;
	cap-power-off-card;
	keep-power-in-suspend;
	status = "okay";
};

&usdhc3 {
	pinctrl-names = "default";
	pinctrl-0 = <&pinctrl_usdhc3>;
	bus-width = <4>;
	cd-gpios = GP_USDHC3_CD;
	vmmc-supply = <&reg_3p3v>;
	status = "okay";
};

&usdhc4 {
	pinctrl-names = "default";
	pinctrl-0 = <&pinctrl_usdhc4>;
	bus-width = <8>;
	non-removable;
	vqmmc-1-8-v;
	vmmc-supply = <&reg_1p8v>;
	keep-power-in-suspend;
	status = "okay";
};
